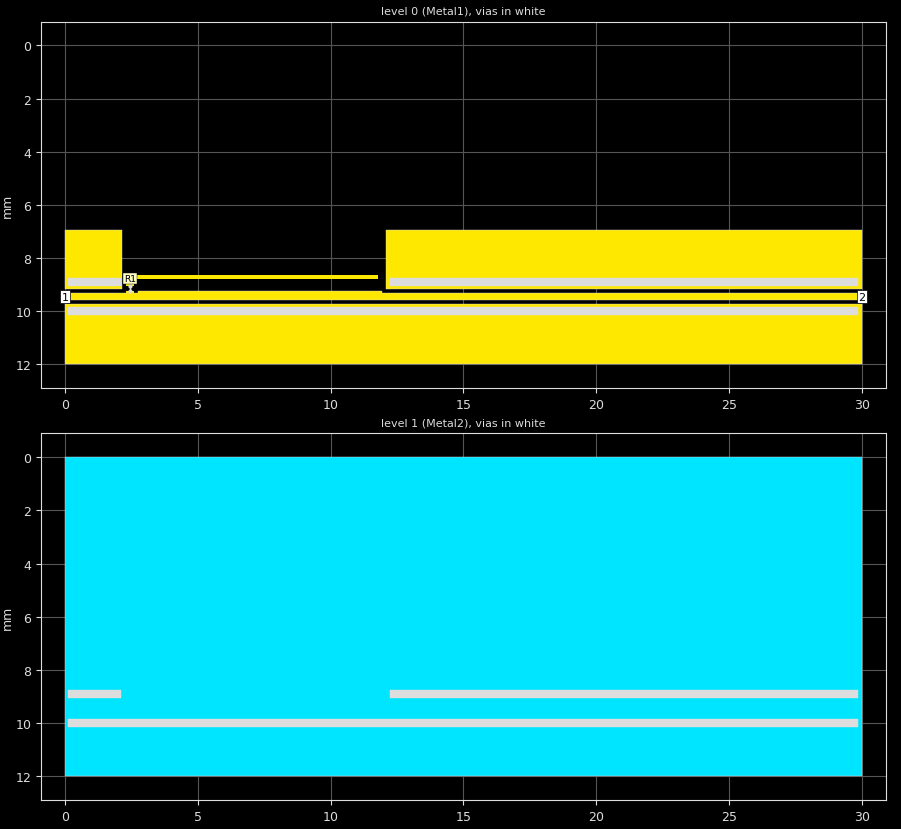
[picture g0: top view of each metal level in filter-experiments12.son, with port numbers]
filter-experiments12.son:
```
FTYP SONPROJ 18 ! Sonnet Project File
VER 17.56
HEADER
LIC antikernel2.1.50170 ac1f6b6437c5 havequick azonenberg Level3Gold
DAT 04/04/2021 10:26:39
BUILT_BY_CREATED dxf 17.52.2 05/01/2020 05:35:06
BUILT_BY_SAVED sonnet 17.56
MDATE 04/04/2021 10:26:39
HDATE 04/04/2021 10:26:39
ANN Created by dxfgeo, Sonnet Software Inc.
END HEADER
DIM
ANG DEG
CAP PF
CON /OH
FREQ GHZ
IND NH
LNG MM
RES OH
END DIM
CONTROL
VARSWP
OPTIONS  -dj
SPEED 1
CACHE_ABS 1
Q_ACC N
END CONTROL
GEO
TMET "Free Space" 0 FREESPACE 376.7303136 0 0 0
BMET "Free Space" 0 FREESPACE 376.7303136 0 0 0
MET "Unknown_metal" 1 NOR INF 0.5 0 
MET "Copper 1oz thick" 2 TMM 58000000 0.5 0.035 2
MET "Nickel " 3 TMM 14300000 0.5 0.035 2
MET "Copper 0.5oz" 1 NOR 58000000 0.5 0.0175 
MET "Unknown_metal" 1 VOL INF 0
BRI "Alumina (96%)" 0 9.4 0.0004 0 
BRI "Alumina (99.5%)" 0 9.9 0.0001 0 
BRI "Aluminum Nitride" 0 8.6 0.0003 0 
BRI "Arlon 25FR" 0 3.58 0.0035 0 
BRI "Arlon 25N" 0 3.38 0.0025 0 
BRI "Arlon AD5" 0 5.1 0.003 0 
BRI "Arlon AD10" 0 10.2 0.005 0 
BRI "Arlon AD250" 0 2.5 0.0018 0 
BRI "Arlon AD255A" 0 2.55 0.0015 0 
BRI "Arlon AD260A" 0 2.6 0.0018 0 
BRI "Arlon AD270" 0 2.7 0.0023 0 
BRI "Arlon AD300A" 0 3 0.002 0 
BRI "Arlon AD320A" 0 3.2 0.0032 0 
BRI "Arlon AD350A" 0 3.5 0.003 0 
BRI "Arlon AD410" 0 4.1 0.003 0 
BRI "Arlon AD430" 0 4.3 0.003 0 
BRI "Arlon AD450" 0 4.5 0.0035 0 
BRI "Arlon AD600" 0 6.15 0.003 0 
BRI "Arlon AD1000" 0 10.2 0.0023 0 
BRI "Arlon AR1000" 0 9.8 0.003 0 
BRI "Arlon CLTE" 0 2.96 0.0023 0 
BRI "Arlon CLTE-AT" 0 3 0.0013 0 
BRI "Arlon CLTE-P" 0 2.94 0.0025 0 
BRI "Arlon CLTE-XT" 0 2.94 0.0012 0 
BRI "Arlon Cu 217LX" 0 2.17 0.0009 0 
BRI "Arlon Cu 233LX" 0 2.33 0.0013 0 
BRI "Arlon Cu 250GT" 0 2.5 0.001 0 
BRI "Arlon Cu 250GX" 0 2.5 0.0018 0 
BRI "Arlon Cu 6250" 0 2.32 0.0013 0 
BRI "Arlon Cu 6700" 0 2.35 0.0025 0 
BRI "Arlon Di 522" 0 2.5 0.001 0 
BRI "Arlon Di 527" 0 2.5 0.0018 0 
BRI "Arlon Di 870" 0 2.33 0.0013 0 
BRI "Arlon Di 880" 0 2.17 0.0009 0 
BRI "Arlon Iso 917" 0 2.17 0.0013 0 
BRI "Arlon Iso 933" 0 2.33 0.0016 0 
BRI "Arlon Multi HF" 0 3.7 0.004 0 
BRI "Arlon TC350" 0 3.5 0.002 0 
BRI "Arlon TC600" 0 6.15 0.002 0 
BRI "Beryllia (99.5%)" 0 6.5 0.0004 0 
BRI "CEM-1" 0 4.5 0.02 0 
BRI "CEM-3" 0 4.5 0.02 0 
BRI "Dupont 9K7" 0 7.1 0.0012 0 
BRI "Dupont 943" 0 7.4 0.002 0 
BRI "Dupont 951" 0 7.8 0.006 0 
BRI "Dupont FEP" 0 2 0.0005 0 
BRI "Dupont Vacrel" 0 3.8 0.011 0 
BRI "ESL 41010" 0 7.5 0.005 0 
BRI "ESL 41020" 0 7.25 0.005 0 
BRI "ESL 41050" 0 13.5 0.002 0 
BRI "ESL 41060" 0 16.5 0.002 0 
BRI "ESL 41110" 0 4.5 0.004 0 
BRI "Ferro A6M" 0 5.9 0.002 0 
BRI "Ferro A6S" 0 5.9 0.002 0 
BRI "Ferro L8" 0 7.3 0.0018 0 
BRI "FR-4" 0 4.4 0.02 0 
BRI "G-10" 0 4.8 0.025 0 
BRI "Gallium Arsenide" 0 12.9 0.006 0 
BRI "Gallium Nitride" 0 9.7 0 0 
BRI "Glass (Pyrex)" 0 4.82 0.0054 0 
BRI "Heraeus HL2000" 0 7.3 0.0026 0 
BRI "Isola 370HR" 0 4.04 0.021 0 
BRI "Isola FR408" 0 3.77 0.0116 0 
BRI "Isola FR408HR" 0 3.68 0.0092 0 
BRI "Isola Getek" 0 3.6 0.01 0 
BRI "Isola GI-180" 0 3.7 0.013 0 
BRI "Isola IS415" 0 3.82 0.0125 0 
BRI "Isola IS620i" 0 3.58 0.006 0 
BRI "Isola IS680-280" 0 2.8 0.0025 0 
BRI "Isola IS680-300" 0 3 0.003 0 
BRI "Isola IS680-320" 0 3.2 0.003 0 
BRI "Isola IS680-333" 0 3.33 0.003 0 
BRI "Isola IS680-338" 0 3.38 0.0032 0 
BRI "Isola IS680-345" 0 3.45 0.0036 0 
BRI "Kerafol CT800" 0 5.3 0.008 0 
BRI "Nelco MW9350" 0 3.7 0.004 0 
BRI "Nelco N4000-12" 0 3.7 0.008 0 
BRI "Nelco N4000-13" 0 3.7 0.009 0 
BRI "Nelco N4000-13SI" 0 3.2 0.007 0 
BRI "Nelco N4000-13EP" 0 3.7 0.008 0 
BRI "Nelco N4350-13RF" 0 3.5 0.0065 0 
BRI "Nelco N4380-13RF" 0 3.8 0.007 0 
BRI "Nelco N9300-13RF" 0 3 0.004 0 
BRI "Nelco N9320-13RF" 0 3.2 0.0045 0 
BRI "Nelco N9338-13RF" 0 3.38 0.0046 0 
BRI "Nelco N9350-13RF" 0 3.48 0.0055 0 
BRI "Nelco NH9294" 0 2.94 0.0022 0 
BRI "Nelco NH9300" 0 3 0.0023 0 
BRI "Nelco NH9320" 0 3.2 0.0024 0 
BRI "Nelco NH9338" 0 3.38 0.0025 0 
BRI "Nelco NH9348" 0 3.48 0.003 0 
BRI "Nelco NH9350" 0 3.5 0.003 0 
BRI "Nelco NH9410" 0 4.1 0.003 0 
BRI "Nelco NH9450" 0 4.5 0.003 0 
BRI "Nelco NX9240" 0 2.4 0.0016 0 
BRI "Nelco NX9245" 0 2.45 0.0016 0 
BRI "Nelco NX9250" 0 2.5 0.0017 0 
BRI "Nelco NX9255" 0 2.55 0.0018 0 
BRI "Nelco NX9260" 0 2.6 0.0019 0 
BRI "Nelco NY9208" 0 2.08 0.0006 0 
BRI "Nelco NY9217" 0 2.17 0.0008 0 
BRI "Nelco NY9220" 0 2.2 0.0009 0 
BRI "Nelco NY9233" 0 2.33 0.0011 0 
BRI "PET" 0 3.37 0.0208 0 
BRI "Polyimide" 0 3.5 0.003 0 
BRI "Quartz (Fused)" 0 3.78 0.0001 0 
BRI "Rogers 3001" 0 2.28 0.003 0 
BRI "Rogers RO2808" 0 7.6 0.0015 0 
BRI "Rogers RO3003" 0 3 0.0013 0 
BRI "Rogers RO3006" 0 6.5 0.002 0 
BRI "Rogers RO3010" 0 11.2 0.0022 0 
BRI "Rogers RO3035" 0 3.6 0.0018 0 
BRI "Rogers RO3203" 0 3.02 0.0016 0 
BRI "Rogers RO3206" 0 6.6 0.0027 0 
BRI "Rogers RO3210" 0 10.8 0.0027 0 
BRI "Rogers RO3730" 0 3 0.0016 0 
BRI "Rogers RO4003C" 0 3.55 0.0029 0 
BRI "Rogers RO4533" 0 3.45 0.0029 0 
BRI "Rogers RO4534" 0 3.4 0.003 0 
BRI "Rogers RO4350B" 0 3.66 0.0037 0 
BRI "Rogers RO4350BTX" 0 3.66 0.0034 0 
BRI "Rogers RO4360" 0 6.15 0.0038 0 
BRI "Rogers RO4450B-3.6" 0 3.3 0.0043 0 
BRI "Rogers RO4450B-4" 0 3.54 0.004 0 
BRI "Rogers RO4450F" 0 3.52 0.0041 0 
BRI "Rogers RO4730" 0 3 0.0033 0 
BRI "Rogers RT5870" 0 2.33 0.0012 0 
BRI "Rogers RT5880" 0 2.2 0.0009 0 
BRI "Rogers RT5880LZ" 0 1.96 0.0019 0 
BRI "Rogers RT6002" 0 2.94 0.0012 0 
BRI "Rogers RT6006" 0 6.15 0.0027 0 
BRI "Rogers RT6010LM" 0 10.9 0.0023 0 
BRI "Rogers RT6035HTC" 0 3.6 0.0013 0 
BRI "Rogers RT6202" 0 2.94 0.0015 0 
BRI "Rogers RT6202PR" 0 2.95 0.0015 0 
BRI "Rogers Syron7000" 0 3.4 0.0045 0 
BRI "Rogers Syron7100-2" 0 3.61 0.006 0 
BRI "Rogers Syron7100-4" 0 3.39 0.005 0 
BRI "Rogers Theta" 0 4.01 0.0118 0 
BRI "Rogers TMM 3" 0 3.39 0.002 0 
BRI "Rogers TMM 4" 0 4.5 0.002 0 
BRI "Rogers TMM 6" 0 6 0.0023 0 
BRI "Rogers TMM 10" 0 9.56 0.0022 0 
BRI "Rogers TMM 10i" 0 9.96 0.002 0 
BRI "Rogers UL2000" 0 2.5 0.0019 0 
BRI "Rogers UL3850" 0 3.05 0.0025 0 
BRI "Rogers UL3908" 0 2.9 0.0025 0 
BRI "Rogers XT8000" 0 3.34 0.0035 0 
BRI "Rogers XT8100-2" 0 3.54 0.0049 0 
BRI "Rogers XT8100-4" 0 3.32 0.0038 0 
BRI "Silicon (intrinsic)" 0 11.9 0.004 0.00044 
BRI "Silicon Dioxide" 0 3.9 0 0 
BRI "Silicon Nitride" 0 7.5 0 0 
BRI "Taconic CER-10" 0 10 0.0035 0 
BRI "Taconic FastFilm" 0 2.7 0.0012 0 
BRI "Taconic Fastrise-DS" 0 2.96 0.0018 0 
BRI "Taconic Fastrise27" 0 2.7 0.0014 0 
BRI "Taconic Fastrise77" 0 7.7 0.0034 0 
BRI "Taconic FEP" 0 2 0.0003 0 
BRI "Taconic RF-30" 0 3 0.0014 0 
BRI "Taconic RF-35" 0 3.5 0.0018 0 
BRI "Taconic RF-35A2" 0 3.5 0.0011 0 
BRI "Taconic RF-35P" 0 3.5 0.0025 0 
BRI "Taconic RF-41" 0 4.1 0.0038 0 
BRI "Taconic RF-43" 0 4.3 0.0033 0 
BRI "Taconic RF-45" 0 4.5 0.0037 0 
BRI "Taconic RF-60A" 0 6.15 0.0038 0 
BRI "Taconic RF-301" 0 2.97 0.0012 0 
BRI "Taconic TacBond HT" 0 2.35 0.0025 0 
BRI "Taconic TLA-6" 0 2.62 0.0012 0 
BRI "Taconic TLC-27" 0 2.75 0.003 0 
BRI "Taconic TLC-30" 0 3 0.003 0 
BRI "Taconic TLC-32" 0 3.2 0.003 0 
BRI "Taconic TLE-95" 0 2.95 0.0028 0 
BRI "Taconic TLF-34" 0 3.4 0.002 0 
BRI "Taconic TLF-35" 0 3.5 0.002 0 
BRI "Taconic TLP-3" 0 2.33 0.0009 0 
BRI "Taconic TLP-5" 0 2.2 0.0009 0 
BRI "Taconic TLP-5A" 0 2.17 0.0009 0 
BRI "Taconic TLT-0" 0 2.45 0.0006 0 
BRI "Taconic TLT-9" 0 2.5 0.0006 0 
BRI "Taconic TLT-8" 0 2.55 0.0006 0 
BRI "Taconic TLT-7" 0 2.6 0.0006 0 
BRI "Taconic TLT-6" 0 2.65 0.0006 0 
BRI "Taconic TLX-0" 0 2.45 0.0019 0 
BRI "Taconic TLX-9" 0 2.5 0.0019 0 
BRI "Taconic TLX-8" 0 2.55 0.0019 0 
BRI "Taconic TLX-7" 0 2.6 0.0019 0 
BRI "Taconic TLX-6" 0 2.65 0.0019 0 
BRI "Taconic TLY-3" 0 2.33 0.0009 0 
BRI "Taconic TLY-3F" 0 2.33 0.0009 0 
BRI "Taconic TLY-5" 0 2.2 0.0009 0 
BRI "Taconic TLY-5-L" 0 2.2 0.0009 0 
BRI "Taconic TLY-5A" 0 2.17 0.0009 0 
BRI "Taconic TLY-5A-L" 0 2.17 0.0009 0 
BRI "Taconic TPG-30" 0 3 0.0038 0 
BRI "Taconic TPG-32" 0 3.2 0.005 0 
BRI "Taconic TPG-35" 0 3.5 0.005 0 
BRI "Taconic TRF-41" 0 4.1 0.0035 0 
BRI "Taconic TRF-43" 0 4.3 0.0035 0 
BRI "Taconic TRF-45" 0 4.5 0.0035 0 
BRI "Taconic TSM-DS" 0 2.85 0.001 0 
BRI "Taconic TSM-DS3" 0 3 0.0011 0 
BRI "Taconic TSM-26" 0 2.6 0.0014 0 
BRI "Taconic TSM-29" 0 2.94 0.0013 0 
BRI "Taconic TSM-30" 0 3 0.0013 0 
BRI "Teflon (PTFE)" 0 2.08 0.0004 0 
BOX 2 30 12 1200 480 20 0
      1 1 1 0 0 0 0 "Air"
      0.16 3.6 1 0.0092 0 0 0 "Isola FR408HR"
      1 1 1 0 0 0 0 "Air"
TECHLAY METAL Metal1 BLACK -2 0 
0 0 1 N 3389 1 1 100 100 0 0 0 Y
END
END
TECHLAY VIA Via1 <UNSPECIFIED> -4 0 
VIA POLYGON
1 0 -1 N 3394 1 1 100 100 0 0 0 Y
TOLEVEL 0 RING NOCOVERS
END
END
TECHLAY METAL Metal2 <UNSPECIFIED> -3 0 
1 0 3 N 3396 1 1 100 100 0 0 0 Y
END
END
VALVAR WIDTH LNG 0.3 "Dim. Param."
DIM STD YDIR -1
POS -0.1866117808 -0.1161684472
NOM 0.15
REF1 POLY 3437 1
5
REF2 POLY 1827 1
2
END
DIM STD XDIR 1
POS 14.31990812 -0.4337672282
NOM 9.5
REF1 POLY 3438 1
5
REF2 POLY 3438 1
4
END
LORGN 0 12 U 
POR1 BOX
POLY 3437 1
7
2 50 0 0 0 30 9.45 
POR1 BOX
POLY 3437 1
5
1 50 0 0 0 0 9.45 
SMD 0 "R1"
ID 3431
GNDREF AUTO
SBOX 2.4 2.5 9.1 9.2
PBSHW N
LPOS 2.45 9.1
TYPE SPARAM 1
SMDP 0 2.45 9.25 B 3 1 
EXSMDP
GNDREF AUTO
TERMW FEED
END EXSMDP
SMDP 0 2.45 9.05 T 4 2 
EXSMDP
GNDREF AUTO
TERMW FEED
END EXSMDP
END
NUM 10
0 5 1 N 1827 1 1 100 100 0 0 0 Y
TLAYNAM Metal1 INH
2.15 6.95
0 6.95
0 9.15
2.15 9.15
2.15 6.95
END
0 5 1 N 3138 1 1 100 100 0 0 0 Y
TLAYNAM Metal1 INH
30 12
5.551115123e-17 12
5.551115123e-17 9.75
30 9.75
30 12
END
0 5 1 N 3168 1 1 100 100 0 0 0 Y
TLAYNAM Metal1 INH
30 6.95
12.1 6.95
12.1 9.15
30 9.15
30 6.95
END
0 5 1 N 3430 1 1 100 100 0 0 0 Y
TLAYNAM Metal1 INH
2.3 9.25
2.6 9.25
2.6 9.4
2.3 9.4
2.3 9.25
END
0 9 1 N 3437 1 1 100 100 0 0 0 Y
TLAYNAM Metal1 INH
30 9.3
11.95 9.3
11.95 9.25
2.75 9.25
2.75 9.3
0 9.3
0 9.6
30 9.6
30 9.3
END
0 12 1 N 3438 1 1 100 100 0 0 0 Y
TLAYNAM Metal1 INH
2.6 8.95
2.6 8.95
2.6 8.8
11.8 8.8
11.8 8.65
2.3 8.65
2.3 8.8
2.3 8.9
2.3 8.9
2.3 9.05
2.6 9.05
2.6 8.95
END
VIA POLYGON
0 5 -1 N 1016 1 1 100 100 0 0 0 Y
TOLEVEL 1 RING NOCOVERS
0.1 8.75
2.1 8.75
2.1 9.05
0.1 9.05
0.1 8.75
END
VIA POLYGON
0 5 -1 N 3136 1 1 100 100 0 0 0 Y
TOLEVEL 1 RING NOCOVERS
0.1 10.15
29.85 10.15
29.85 9.85
0.1 9.85
0.1 10.15
END
VIA POLYGON
0 5 -1 N 3167 1 1 100 100 0 0 0 Y
TOLEVEL 1 RING NOCOVERS
12.25 8.75
29.85 8.75
29.85 9.05
12.25 9.05
12.25 8.75
END
1 5 3 N 2082 1 1 100 100 0 0 0 Y
TLAYNAM Metal2 INH
0 0
30 0
30 12
0 12
0 0
END
END GEO
OPT
MAX 100
END OPT
VARSWP
ENABLED Y
FREQ Y AY ABS_ENTRY 0.1 16.0 -1 300 
END
END VARSWP
3DOPTIONS
GLOBAL 5
ALL 3 1
END 3DOPTIONS
SMDFILES
1 "../../../../../../../bulk/datasheets/Vishay/Resistors/CH/CH02016F_P/CH02016F_P_050R.s2p"
END SMDFILES
```
